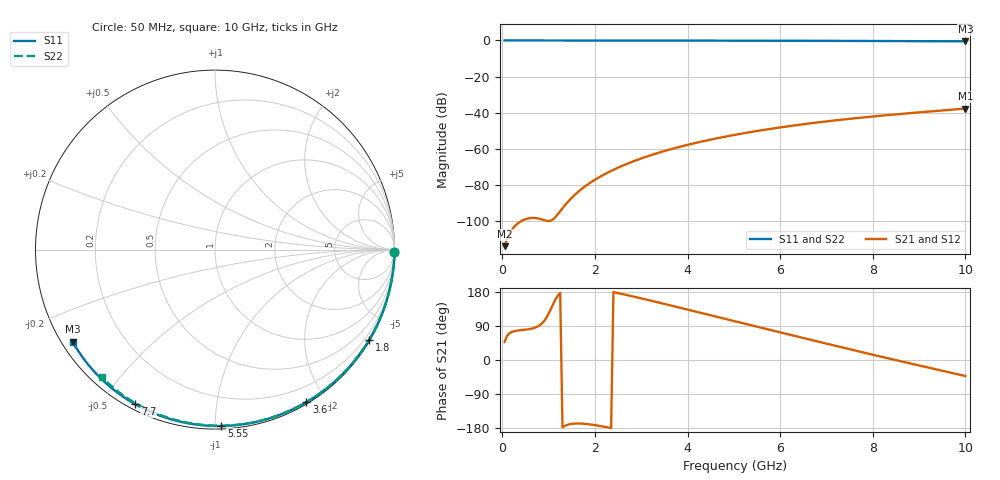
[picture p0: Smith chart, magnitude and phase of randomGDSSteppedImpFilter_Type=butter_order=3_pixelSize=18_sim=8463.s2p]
! freq	dB(S11)	phase(S11)	dB(S12)	phase(S12)
!  dB(S21)	phase(S21)	dB(S22)	phase(S22)
!S-par simulation data
#  GHz  S  DB  R 50
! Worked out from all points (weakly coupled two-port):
!   200 points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, 50 MHz to 10 GHz, reference 50 ohm
!   highest |S21| = -37.72 dB at 10 GHz (marker M1); lowest = -113.9 dB at 50 MHz (marker M2)
!   lowest |S11| = -0.5 dB at 10 GHz (marker M3), VSWR 35.37, Z = 1.54 - j14.7 ohm
!   |S11| at or under -10 dB: nowhere
!   |S22| runs from -0.4 to 0.0 dB; largest |S21 - S12| = 0
!   S11 on the Smith chart (normalised r, x): 50 MHz: open; 1.8 GHz: 0.03, -3.69; 3.6 GHz: 0.02, -1.76; 5.55 GHz: 0.02, -1.04; 7.7 GHz: 0.02, -0.61; 10 GHz: 0.03, -0.29
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0.05  -0.00 -0.9  -113.94 47.6  -113.94 47.6  -0.00 -0.8
0.45  -0.01 -7.7  -99.50 79.4  -99.50 79.4  -0.01 -6.8
0.9  -0.02 -15.3  -99.49 102.3  -99.49 102.3  -0.02 -13.6
1.3  -0.03 -22.0  -92.92 -177.6  -92.92 -177.6  -0.02 -19.6
1.75  -0.04 -29.5  -81.52 -168.1  -81.52 -168.1  -0.03 -26.2
1.8  -0.04 -30.3  -80.57 -168.7  -80.57 -168.7  -0.03 -26.9
1.85  -0.04 -31.1  -79.66 -169.3  -79.66 -169.3  -0.04 -27.7
2.05  -0.04 -34.4  -76.37 -172.8  -76.37 -172.8  -0.04 -30.6
2.25  -0.05 -37.7  -73.54 -177.2  -73.54 -177.2  -0.04 -33.5
2.55  -0.05 -42.5  -69.88 175.2  -69.88 175.2  -0.05 -37.8
2.95  -0.06 -48.9  -65.80 164.1  -65.80 164.1  -0.06 -43.6
3.4  -0.07 -56.0  -62.00 151.0  -62.00 151.0  -0.07 -49.9
3.6  -0.08 -59.1  -60.51 145.0  -60.51 145.0  -0.07 -52.7
4.3  -0.10 -69.7  -56.02 124.0  -56.02 124.0  -0.09 -62.2
5.05  -0.12 -80.8  -52.14 101.4  -52.14 101.4  -0.11 -72.2
5.55  -0.14 -88.0  -49.94 86.4  -49.94 86.4  -0.13 -78.7
6.1  -0.17 -95.7  -47.80 69.9  -47.80 69.9  -0.15 -85.6
6.7  -0.20 -103.9  -45.75 52.0  -45.75 52.0  -0.18 -93.1
7.7  -0.27 -117.3  -42.87 22.6  -42.87 22.6  -0.24 -105.1
8.35  -0.32 -125.8  -41.28 3.9  -41.28 3.9  -0.29 -112.7
9.2  -0.40 -136.8  -39.40 -20.0  -39.40 -20.0  -0.36 -122.4
10  -0.49 -147.1  -37.72 -42.3  -37.72 -42.3  -0.44 -131.5
